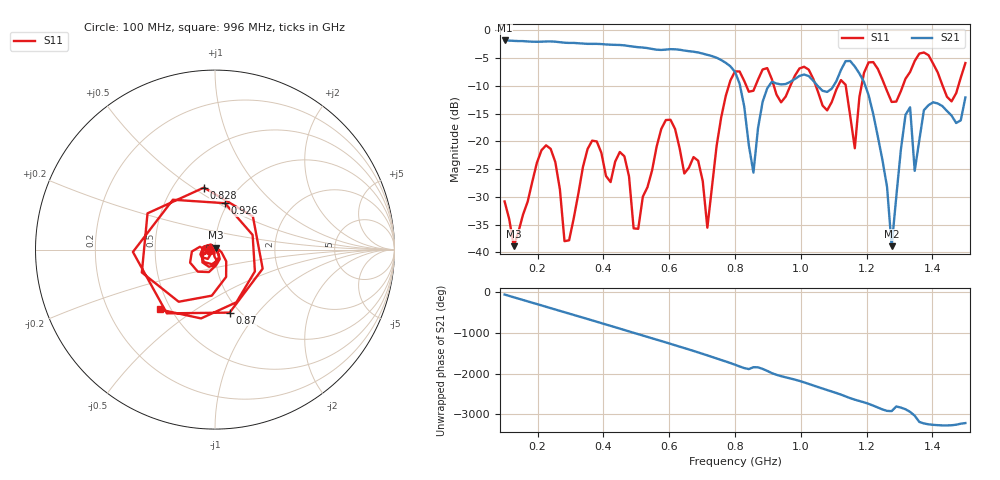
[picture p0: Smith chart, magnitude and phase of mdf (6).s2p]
! NanoVNA-App
! Date: 2025-09-25 15:38:28
! Start: 100MHz Stop: 1,5GHz Points: 101
! S-Parameter data: F S11 S21 S12 S22
# Hz S RI R 50
!  Frequency  S11_Real  S11_Imag  S21_Real  S21_Imag  S12_Real  S12_Imag  S22_Real  S22_Imag
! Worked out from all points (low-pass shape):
!   101 points, 100 MHz to 1.5 GHz, reference 50 ohm
!   highest |S21| = -1.80 dB at 100 MHz (marker M1); lowest = -38.9 dB at 1.276 GHz (marker M2)
!   |S21| within 3 dB of the highest: start of sweep to 738.8 MHz
!   lowest |S11| = -38.9 dB at 128 MHz (marker M3), VSWR 1.02, Z = 50.4 + j1.08 ohm
!   |S11| at or under -10 dB: start of sweep to 781.1 MHz; 1.046 GHz to 1.113 GHz (67.65 MHz wide, 6.27 % of centre); 1.256 GHz to 1.31 GHz (54.28 MHz wide, 4.23 % of centre)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
!   S12 and S22 are empty: the file has one direction only
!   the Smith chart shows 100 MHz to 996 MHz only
!   S11 on the Smith chart (normalised r, x): 100 MHz: 0.94, -0.01; 828 MHz: 0.70, +0.55; 870 MHz: 0.90, -0.73; 926 MHz: 0.97, +0.54; 996 MHz: 0.43, -0.37
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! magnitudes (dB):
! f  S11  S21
! 100 MHz  -30.8  -1.8
! 128 MHz  -38.9  -1.9
! 212 MHz  -21.6  -2.0
! 282 MHz  -38.0  -2.2
! 338 MHz  -24.6  -2.4
! 464 MHz  -22.7  -2.7
! 506 MHz  -35.8  -3.0
! 576 MHz  -17.8  -3.5
! 716 MHz  -35.6  -4.4
! 800 MHz  -7.4  -7.5
! 828 MHz  -9.1  -13.7
! 856 MHz  -10.9  -25.6
! 870 MHz  -8.9  -17.6
! 926 MHz  -11.6  -9.6
! 996 MHz  -6.8  -8.2
! 1.038 GHz  -8.7  -9.1
! 1.164 GHz  -21.2  -6.5
! 1.192 GHz  -7.6  -9.3
! 1.276 GHz  -12.9  -38.9
! 1.318 GHz  -8.7  -15.2
! 1.346 GHz  -5.5  -25.3
! 1.5 GHz  -5.9  -12.1
